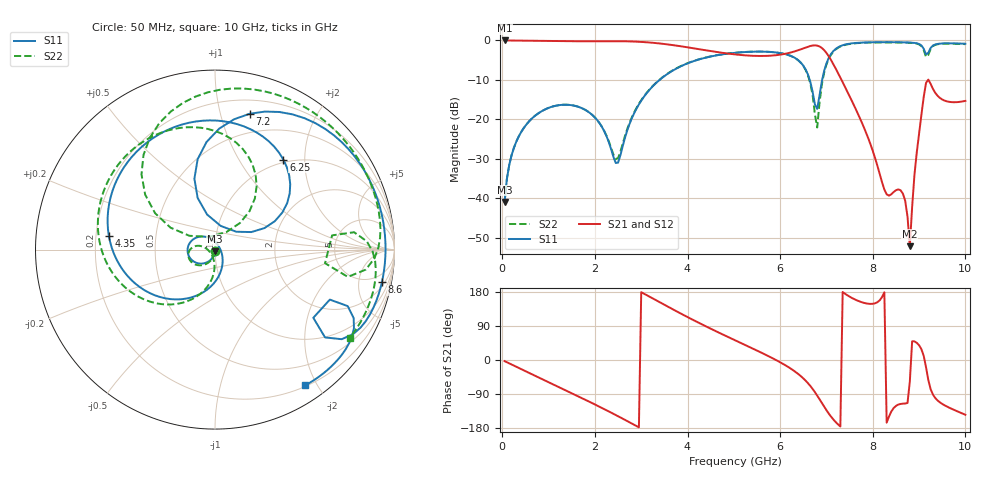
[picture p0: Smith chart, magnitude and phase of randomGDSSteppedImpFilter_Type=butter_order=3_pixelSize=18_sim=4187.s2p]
! freq	dB(S11)	phase(S11)	dB(S12)	phase(S12)
!  dB(S21)	phase(S21)	dB(S22)	phase(S22)
!S-par simulation data
#  GHz  S  DB  R 50
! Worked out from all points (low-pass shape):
!   200 points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, 50 MHz to 10 GHz, reference 50 ohm
!   highest |S21| = -0.01 dB at 50 MHz (marker M1); lowest = -52.2 dB at 8.8 GHz (marker M2)
!   |S21| within 3 dB of the highest: start of sweep to 4.673 GHz; 6.246 GHz to 6.988 GHz (742 MHz wide, 11.2 % of centre)
!   lowest |S11| = -41.0 dB at 50 MHz (marker M3), VSWR 1.02, Z = 50 - j0.892 ohm
!   |S11| at or under -10 dB: start of sweep to 3.397 GHz; 6.638 GHz to 6.907 GHz (268.9 MHz wide, 3.97 % of centre)
!   |S22| runs from -41.0 to -0.5 dB; largest |S21 - S12| = 0
!   S11 on the Smith chart (normalised r, x): 50 MHz: 1.00, -0.02; 4.35 GHz: 0.25, +0.06; 6.25 GHz: 0.95, +1.58; 7.2 GHz: 0.32, +1.24; 8.6 GHz: 2.70, -9.59; 10 GHz: 0.22, -1.85
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0.05  -40.97 -92.2  -0.01 -3.0  -0.01 -3.0  -40.96 -91.7
0.2  -29.13 -102.4  -0.03 -11.9  -0.03 -11.9  -29.13 -100.7
0.55  -20.90 -125.3  -0.08 -32.4  -0.08 -32.4  -20.89 -120.4
1.75  -17.35 156.1  -0.20 -102.3  -0.20 -102.3  -17.35 178.4
2.5  -30.98 12.2  -0.19 -148.4  -0.19 -148.4  -29.81 -130.7
3.4  -9.97 -120.6  -0.77 152.3  -0.77 152.3  -9.90 -117.3
4.35  -4.49 172.6  -2.41 91.6  -2.41 91.6  -4.45 -170.6
5.05  -3.11 128.8  -3.57 50.7  -3.57 50.7  -3.09 152.2
6.25  -4.01 52.8  -2.99 -24.4  -2.99 -24.4  -4.04 82.6
6.7  -12.96 25.7  -1.29 -76.1  -1.29 -76.1  -13.79 46.7
6.8  -17.36 76.2  -1.31 -93.8  -1.31 -93.8  -22.10 115.5
6.95  -7.71 106.2  -2.46 -123.1  -2.46 -123.1  -8.17 148.7
7.2  -2.15 75.7  -7.14 -163.9  -7.14 -163.9  -2.27 113.7
7.7  -0.58 33.9  -19.13 155.2  -19.13 155.2  -0.65 69.7
8.35  -0.44 0.2  -39.35 -149.2  -39.35 -149.2  -0.50 33.1
8.6  -0.47 -11.0  -37.99 -116.0  -37.99 -116.0  -0.52 20.5
8.7  -0.49 -15.5  -40.65 -114.8  -40.65 -114.8  -0.55 15.4
8.8  -0.54 -20.2  -52.17 -57.4  -52.17 -57.4  -0.60 10.0
8.9  -0.63 -25.3  -34.10 49.2  -34.10 49.2  -0.71 4.1
9.15  -3.52 -34.7  -10.76 -18.9  -10.76 -18.9  -4.18 -7.0
9.4  -0.88 -32.4  -14.05 -106.8  -14.05 -106.8  -0.97 -4.2
10  -0.84 -56.3  -15.32 -144.5  -15.32 -144.5  -0.94 -33.1
